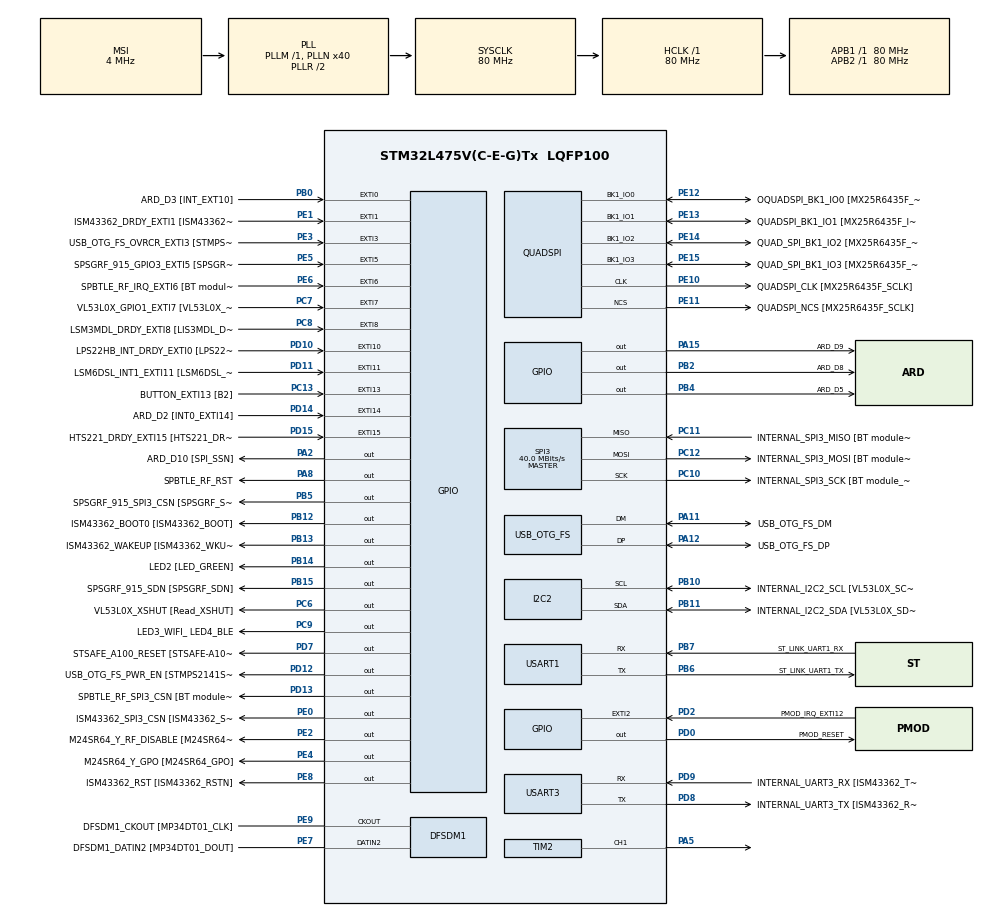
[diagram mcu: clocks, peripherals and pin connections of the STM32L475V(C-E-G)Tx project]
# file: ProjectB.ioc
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Mcu.Family=STM32L4
Mcu.Name=STM32L475V(C-E-G)Tx
Mcu.Package=LQFP100
NVIC.EXTI15_10_IRQn=true\:0\:0\:false\:false\:true\:true\:true\:true
NVIC.EXTI9_5_IRQn=true\:0\:0\:false\:false\:true\:true\:true\:true
NVIC.PriorityGroup=NVIC_PRIORITYGROUP_4
NVIC.TIM2_IRQn=true\:0\:0\:false\:false\:true\:true\:true\:true
NVIC.TIM3_IRQn=true\:0\:0\:false\:false\:true\:true\:true\:true
NVIC.USART1_IRQn=true\:0\:0\:false\:false\:true\:true\:true\:true
PA0.GPIO_Label=ARD_D1 [UART4_TX]
PA0.Signal=UART4_TX
PA1.GPIO_Label=ARD_D0 [UART4_RX]
PA1.Signal=UART4_RX
PA10.GPIO_Label=USB_OTG_FS_ID
PA10.Signal=USB_OTG_FS_ID
PA11.GPIO_Label=USB_OTG_FS_DM
PA11.Mode=Device_Only
PA11.Signal=USB_OTG_FS_DM
PA12.GPIO_Label=USB_OTG_FS_DP
PA12.Mode=Device_Only
PA12.Signal=USB_OTG_FS_DP
PA13\ (JTMS-SWDIO).GPIO_Label=SYS_JTMS_SWDIO
PA13\ (JTMS-SWDIO).Mode=Serial_Wire
PA13\ (JTMS-SWDIO).Signal=SYS_JTMS-SWDIO
PA14\ (JTCK-SWCLK).GPIO_Label=SYS_JTCK_SWCLK
PA14\ (JTCK-SWCLK).Mode=Serial_Wire
PA14\ (JTCK-SWCLK).Signal=SYS_JTCK-SWCLK
PA15\ (JTDI).GPIO_Label=ARD_D9
PA15\ (JTDI).Signal=GPIO_Output
PA2.GPIO_Label=ARD_D10 [SPI_SSN]
PA2.Signal=GPIO_Output
PA3.GPIO_Label=ARD_D4
PA3.Signal=S_TIM2_CH4
PA4.GPIO_Label=ARD_D7
PA4.Signal=ADCx_IN9
PA5.Signal=S_TIM2_CH1
PA6.GPIO_Label=ARD_D12 [SPI1_MISO]
PA6.Signal=SPI1_MISO
PA7.GPIO_Label=ARD_D11 [SPI1_MOSI]
PA7.Signal=SPI1_MOSI
PA8.GPIO_Label=SPBTLE_RF_RST
PA8.Signal=GPIO_Output
PA9.GPIO_Label=USB_OTG_FS_VBUS [STMPS2141STR_OUT]
PA9.Signal=USB_OTG_FS_VBUS
PB0.GPIO_Label=ARD_D3 [INT_EXT10]
PB0.Signal=GPXTI0
PB1.GPIO_Label=ARD_D6 [ADC1_IN6]
PB1.Signal=ADCx_IN16
PB10.GPIO_Label=INTERNAL_I2C2_SCL [VL53L0X_SCL]
PB10.GPIO_Pu=GPIO_PULLUP
PB10.Mode=I2C
PB10.Signal=I2C2_SCL
PB11.GPIO_Label=INTERNAL_I2C2_SDA [VL53L0X_SDA]
PB11.GPIO_Pu=GPIO_PULLUP
PB11.Mode=I2C
PB11.Signal=I2C2_SDA
PB12.GPIO_Label=ISM43362_BOOT0 [ISM43362_BOOT]
PB12.Signal=GPIO_Output
PB13.GPIO_Label=ISM43362_WAKEUP [ISM43362_WKUP]
PB13.Signal=GPIO_Output
PB14.GPIO_Label=LED2 [LED_GREEN]
PB14.Signal=GPIO_Output
PB15.GPIO_Label=SPSGRF_915_SDN [SPSGRF_SDN]
PB15.Signal=GPIO_Output
PB2.GPIO_Label=ARD_D8
PB2.Signal=GPIO_Output
PB3\ (JTDO-TRACESWO).GPIO_Label=SYS_JTD0_SWO
PB3\ (JTDO-TRACESWO).Signal=SYS_JTDO-SWO
PB4\ (NJTRST).GPIO_Label=ARD_D5
PB4\ (NJTRST).Signal=GPIO_Output
PB5.GPIO_Label=SPSGRF_915_SPI3_CSN [SPSGRF_SPI_CS]
PB5.PinState=GPIO_PIN_SET
PB5.Signal=GPIO_Output
PB6.GPIO_Label=ST_LINK_UART1_TX
PB6.Mode=Asynchronous
PB6.Signal=USART1_TX
PB7.GPIO_Label=ST_LINK_UART1_RX
PB7.Mode=Asynchronous
PB7.Signal=USART1_RX
PB8.GPIO_Label=ARD_D15 [I2C1_SCL]
PB8.Signal=I2C1_SCL
PB9.GPIO_Label=ARD_D14 [I2C1_SDA]
PB9.Signal=I2C1_SDA
PC0.GPIO_Label=ARD_A5 [ADC]
PC0.Signal=ADCx_IN1
PC1.GPIO_Label=ARD_A4 [ADC]
PC1.Signal=ADCx_IN2
PC10.GPIO_Label=INTERNAL_SPI3_SCK [BT module_SPI_SCLK] [ISM43362_SCK]
PC10.Mode=Full_Duplex_Master
PC10.Signal=SPI3_SCK
PC11.GPIO_Label=INTERNAL_SPI3_MISO [BT module_SPI_MISO] [ISM43362_MISO]
PC11.Mode=Full_Duplex_Master
PC11.Signal=SPI3_MISO
PC12.GPIO_Label=INTERNAL_SPI3_MOSI [BT module_SPI_MOSI] [ISM43362_MOSI]
PC12.Mode=Full_Duplex_Master
PC12.Signal=SPI3_MOSI
PC13.GPIO_Label=BUTTON_EXTI13 [B2]
PC13.GPIO_ModeDefaultEXTI=GPIO_MODE_IT_FALLING
PC13.Signal=GPXTI13
PC14-OSC32_IN\ (PC14).Mode=LSE-External-Oscillator
PC14-OSC32_IN\ (PC14).Signal=RCC_OSC32_IN
PC15-OSC32_OUT\ (PC15).Mode=LSE-External-Oscillator
PC15-OSC32_OUT\ (PC15).Signal=RCC_OSC32_OUT
PC2.GPIO_Label=ARD_A3 [ADC]
PC2.Signal=ADCx_IN3
PC3.GPIO_Label=ARD_A2 [ADC]
PC3.Signal=ADCx_IN4
PC4.GPIO_Label=ARD_A1 [ADC]
PC4.Signal=ADCx_IN13
PC5.GPIO_Label=ARD_A0 [ADC]
PC5.Signal=ADCx_IN14
PC6.GPIO_Label=VL53L0X_XSHUT [Read_XSHUT]
PC6.Signal=GPIO_Output
PC7.GPIO_Label=VL53L0X_GPIO1_EXTI7 [VL53L0X_GPIO1]
PC7.Signal=GPXTI7
PC8.GPIO_Label=LSM3MDL_DRDY_EXTI8 [LIS3MDL_DRDY]
PC8.Signal=GPXTI8
PC9.GPIO_Label=LED3_WIFI_ LED4_BLE
PC9.Signal=GPIO_Output
PD0.GPIO_Label=PMOD_RESET
PD0.Signal=GPIO_Output
PD1.GPIO_Label=PMOD_SPI2_SCK
PD1.Signal=SPI2_SCK
PD10.GPIO_Label=LPS22HB_INT_DRDY_EXTI0 [LPS22HB_INT_DRDY] 
PD10.Signal=GPXTI10
PD11.GPIO_Label=LSM6DSL_INT1_EXTI11 [LSM6DSL_INT1]
PD11.Signal=GPXTI11
PD12.GPIO_Label=USB_OTG_FS_PWR_EN [STMPS2141STR_EN]
PD12.Signal=GPIO_Output
PD13.GPIO_Label=SPBTLE_RF_SPI3_CSN [BT module_SPI_CS]
PD13.PinState=GPIO_PIN_SET
PD13.Signal=GPIO_Output
PD14.GPIO_Label=ARD_D2 [INT0_EXTI14]
PD14.Signal=GPXTI14
PD15.GPIO_Label=HTS221_DRDY_EXTI15 [HTS221_DRDY]
PD15.Signal=GPXTI15
PD2.GPIO_Label=PMOD_IRQ_EXTI12
PD2.Signal=GPXTI2
PD3.GPIO_Label=PMOD_UART2_CTS
PD3.Signal=USART2_CTS
PD4.GPIO_Label=PMOD_UART2_RTS
PD4.Signal=USART2_RTS
PD5.GPIO_Label=PMOD_UART2_TX
PD5.Signal=USART2_TX
PD6.GPIO_Label=PMOD_UART2_RX
PD6.Signal=USART2_RX
PD7.GPIO_Label=STSAFE_A100_RESET [STSAFE-A100_RESET]
PD7.Signal=GPIO_Output
PD8.GPIO_Label=INTERNAL_UART3_TX [ISM43362_RX]
PD8.Mode=Asynchronous
PD8.Signal=USART3_TX
PD9.GPIO_Label=INTERNAL_UART3_RX [ISM43362_TX]
PD9.Mode=Asynchronous
PD9.Signal=USART3_RX
PE0.GPIO_Label=ISM43362_SPI3_CSN [ISM43362_SSN]
PE0.PinState=GPIO_PIN_SET
PE0.Signal=GPIO_Output
PE1.GPIO_Label=ISM43362_DRDY_EXTI1 [ISM43362_DATARDY]
PE1.Signal=GPXTI1
PE10.GPIO_Label=QUADSPI_CLK [MX25R6435F_SCLK]
PE10.Mode=Single Bank
PE10.Signal=QUADSPI_CLK
PE11.GPIO_Label=QUADSPI_NCS [MX25R6435F_SCLK]
PE11.Mode=Single Bank
PE11.Signal=QUADSPI_NCS
PE12.GPIO_Label=OQUADSPI_BK1_IO0 [MX25R6435F_IO0]
PE12.Mode=Single Bank
PE12.Signal=QUADSPI_BK1_IO0
PE13.GPIO_Label=QUADSPI_BK1_IO1 [MX25R6435F_IO1]
PE13.Mode=Single Bank
PE13.Signal=QUADSPI_BK1_IO1
PE14.GPIO_Label=QUAD_SPI_BK1_IO2 [MX25R6435F_IO2]
PE14.Mode=Single Bank
PE14.Signal=QUADSPI_BK1_IO2
PE15.GPIO_Label=QUAD_SPI_BK1_IO3 [MX25R6435F_IO3]
PE15.Mode=Single Bank
PE15.Signal=QUADSPI_BK1_IO3
PE2.GPIO_Label=M24SR64_Y_RF_DISABLE [M24SR64_RFDIS]
PE2.Signal=GPIO_Output
PE3.GPIO_Label=USB_OTG_FS_OVRCR_EXTI3 [STMPS2141STR_FAULT]
PE3.Signal=GPXTI3
PE4.GPIO_Label=M24SR64_Y_GPO [M24SR64_GPO]
PE4.Signal=GPIO_Output
PE5.GPIO_Label=SPSGRF_915_GPIO3_EXTI5 [SPSGRF_GPIO_3]
PE5.Signal=GPXTI5
PE6.GPIO_Label=SPBTLE_RF_IRQ_EXTI6 [BT module_SPI_IRQ]
PE6.Signal=GPXTI6
PE7.GPIO_Label=DFSDM1_DATIN2 [MP34DT01_DOUT]
PE7.Signal=S_DATAIN2DFSDM1
PE8.GPIO_Label=ISM43362_RST [ISM43362_RSTN]
PE8.Signal=GPIO_Output
PE9.GPIO_Label=DFSDM1_CKOUT [MP34DT01_CLK]
PE9.Signal=S_CKOUTDFSDM1
ProjectManager.HeapSize=0x200
ProjectManager.StackSize=0x400
ProjectManager.TargetToolchain=STM32CubeIDE
QUADSPI.ClockPrescaler=2
QUADSPI.FifoThreshold=4
QUADSPI.FlashSize=23
QUADSPI.SampleShifting=QSPI_SAMPLE_SHIFTING_HALFCYCLE
RCC.ADCFreq_Value=48000000
RCC.AHBFreq_Value=80000000
RCC.APB1Freq_Value=80000000
RCC.APB1TimFreq_Value=80000000
RCC.APB2Freq_Value=80000000
RCC.APB2TimFreq_Value=80000000
RCC.CortexFreq_Value=80000000
RCC.HCLKFreq_Value=80000000
RCC.HSE_VALUE=8000000
RCC.HSI_VALUE=16000000
RCC.MSI_VALUE=4000000
RCC.PLLN=40
RCC.PLLSAI1N=24
RCC.SYSCLKFreq_VALUE=80000000
RCC.SYSCLKSource=RCC_SYSCLKSOURCE_PLLCLK
RCC.USBFreq_Value=48000000
RCC.VCOOutputFreq_Value=160000000
SH.ADCx_IN1.0=ADC1_IN1
SH.ADCx_IN13.0=ADC1_IN13
SH.ADCx_IN14.0=ADC1_IN14
SH.ADCx_IN16.0=ADC1_IN16
SH.ADCx_IN2.0=ADC1_IN2
SH.ADCx_IN3.0=ADC1_IN3
SH.ADCx_IN4.0=ADC1_IN4
SH.ADCx_IN9.0=ADC1_IN9
SH.S_CKOUTDFSDM1.0=DFSDM1_CKOUT,CKOUT
SH.S_CKOUTDFSDM1.1=DFSDM1_CKOUT,PDM_SPI_Input_from_ch12_and_Internal_Clock
SH.S_DATAIN2DFSDM1.0=DFSDM1_DATIN2,PDM_SPI_Input_from_ch12_and_Internal_Clock
SH.S_TIM2_CH1.0=TIM2_CH1,PWM Generation1 CH1
SH.S_TIM2_CH4.0=TIM2_CH4
SPI3.CalculateBaudRate=40.0 MBits/s
SPI3.Direction=SPI_DIRECTION_2LINES
SPI3.Mode=SPI_MODE_MASTER
SPI3.VirtualType=VM_MASTER
TIM2.Channel-PWM\ Generation1\ CH1=TIM_CHANNEL_1
TIM3.Period=9999
TIM3.Prescaler=7999
USART1.VirtualMode-Asynchronous=VM_ASYNC
USART3.VirtualMode-Asynchronous=VM_ASYNC
USB_OTG_FS.VirtualMode=Device_Only
VP_TIM2_VS_ClockSourceINT.Mode=Internal
VP_TIM3_VS_ClockSourceINT.Mode=Internal
board=B-L475E-IOT01A1

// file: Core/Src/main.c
/* USER CODE BEGIN Header */
/**
  ******************************************************************************
  * @file           : main.c
  * @brief          : Main program body
  ******************************************************************************
  * @attention
  *
  * Copyright (c) 2026 STMicroelectronics.
  * All rights reserved.
  *
  * This software is licensed under terms that can be found in the LICENSE file
  * in the root directory of this software component.
  * If no LICENSE file comes with this software, it is provided AS-IS.
  *
  ******************************************************************************
  */
/* USER CODE END Header */
#include "main.h"

/* USER CODE BEGIN Includes */
#include <string.h>
#include <stdlib.h>
#include <stdio.h>
/* USER CODE END Includes */

/* USER CODE BEGIN PTD */
typedef struct {
	int16_t ON;
	int16_t OFF;
} ditdah_t; // one scaled element of the morse code sequence
/* USER CODE END PTD */

/* USER CODE BEGIN PD */
static const ditdah_t _ABCsp[] = {{1,-1},{3,-3},{3,-1},{1,-1},{1,-1},{1,-3},{3,-1},{1,-1},{3,-1},{1,-7}};
#define SEQ_LEN 10

static const char REFERENCE[] = "ABC ";

#define RX_BUF_LEN 64
/* USER CODE END PD */

DFSDM_Channel_HandleTypeDef hdfsdm1_channel1;

I2C_HandleTypeDef hi2c2;

QSPI_HandleTypeDef hqspi;

SPI_HandleTypeDef hspi3;

TIM_HandleTypeDef htim2;
TIM_HandleTypeDef htim3;

UART_HandleTypeDef huart1;
UART_HandleTypeDef huart3;

PCD_HandleTypeDef hpcd_USB_OTG_FS;

/* USER CODE BEGIN PV */

static ditdah_t seq[10];

static int seq_i = 0;
static uint8_t seq_phase = 0;
static volatile uint8_t seq_done = 0; // set to 1 when finished, polled

static uint16_t t = 60; // default 60

static uint8_t rx_byte = 0;
static char rx_buf[64];
static uint8_t rx_i = 0;
static volatile uint8_t line_ready = 0; // set to 1 when \r or \n, polled
/* USER CODE END PV */

void SystemClock_Config(void);
static void MX_GPIO_Init(void);
static void MX_DFSDM1_Init(void);
static void MX_I2C2_Init(void);
static void MX_QUADSPI_Init(void);
static void MX_SPI3_Init(void);
static void MX_USART1_UART_Init(void);
static void MX_USART3_UART_Init(void);
static void MX_USB_OTG_FS_PCD_Init(void);
static void MX_TIM2_Init(void);
static void MX_TIM3_Init(void);
/* USER CODE BEGIN PFP */
static int parse_command(char *line);
static void uart_print(char *s);
static void tone_on(void);
static void tone_off(void);
static void scale_sequence(uint16_t t);
static void start_sequence(void);
static void check_answer(char *user);
static void arm_rx(void);
/* USER CODE END PFP */

/* USER CODE BEGIN 0 */
void HAL_UART_RxCpltCallback(UART_HandleTypeDef *huart)
{
	if (huart->Instance != USART1) {
		return;
	}

	if (rx_byte == '\r' || rx_byte == '\n') {
		rx_buf[rx_i] = '\0';
		rx_i = 0;
		line_ready = 1;
	} else {
		if (rx_i < RX_BUF_LEN - 1) {
			rx_buf[rx_i++] = (char)rx_byte;
		}
		arm_rx();
	}
}

void HAL_TIM_PeriodElapsedCallback(TIM_HandleTypeDef *htim)
{
	if (htim->Instance != TIM3) {
		return;
	}

	if (seq_phase == 0) { // ON (tone)
		tone_on();
		uint16_t on_ticks = (uint16_t)(seq[seq_i].ON) - 1;
		__HAL_TIM_SET_AUTORELOAD(&htim3, on_ticks);
		__HAL_TIM_SET_COUNTER(&htim3, 0);
		HAL_TIM_Base_Start_IT(&htim3); // one shot mode
		seq_phase = 1;

	} else { // phase 1 = OFF (silence)
		tone_off();
		uint16_t off_ticks = (uint16_t)(-seq[seq_i].OFF) - 1;

		seq_i++; // next element

		if (seq_i >= (int)SEQ_LEN) { // reset
			seq_done = 1;
			seq_phase = 0;
			seq_i = 0;
			return;
		}

		__HAL_TIM_SET_AUTORELOAD(&htim3, off_ticks);
		__HAL_TIM_SET_COUNTER(&htim3, 0);
		HAL_TIM_Base_Start_IT(&htim3);
		seq_phase = 0;
	}
}
/* USER CODE END 0 */

int main(void)
{

  /* MCU Configuration--------------------------------------------------------*/

  /* Reset of all peripherals, Initializes the Flash interface and the Systick. */
  HAL_Init();

  /* Configure the system clock */
  SystemClock_Config();

  /* Initialize all configured peripherals */
  MX_GPIO_Init();
  MX_DFSDM1_Init();
  MX_I2C2_Init();
  MX_QUADSPI_Init();
  MX_SPI3_Init();
  MX_USART1_UART_Init();
  MX_USART3_UART_Init();
  MX_USB_OTG_FS_PCD_Init();
  MX_TIM2_Init();
  MX_TIM3_Init();
  /* USER CODE BEGIN 2 */
  arm_rx();

  uart_print("Enter command D<speed> (range 20-300): ");
  /* USER CODE END 2 */

  /* Infinite loop */
  while (1)
  {
	  if (line_ready) {
		  line_ready = 0;

		  int result = parse_command(rx_buf);

		  if (result < 0) {
			  uart_print("Invalid command");
			  arm_rx();
		  } else {
			  t = (uint16_t)result;
			  char msg[48];
			  sprintf(msg, "Starting at t=%u ms...\r\n", t);
			  uart_print(msg);

			  start_sequence();

			  while(!seq_done) {} // waitinggggg
			  seq_done = 0;

			  uart_print("Sequence done. Your answer: ");
			  arm_rx();
			  while(!line_ready) {} // waittttt
			  line_ready = 0;

			  check_answer(rx_buf);

			  uart_print("\r\nEnter next command: ");
			  arm_rx();
		  }
	  }
  }
}

void SystemClock_Config(void)
{
  RCC_OscInitTypeDef RCC_OscInitStruct = {0};
  RCC_ClkInitTypeDef RCC_ClkInitStruct = {0};

  /** Configure the main internal regulator output voltage
  */
  if (HAL_PWREx_ControlVoltageScaling(PWR_REGULATOR_VOLTAGE_SCALE1) != HAL_OK)
  {
    Error_Handler();
  }

  /** Configure LSE Drive Capability
  */
  HAL_PWR_EnableBkUpAccess();
  __HAL_RCC_LSEDRIVE_CONFIG(RCC_LSEDRIVE_LOW);

  /** Initializes the RCC Oscillators according to the specified parameters
  * in the RCC_OscInitTypeDef structure.
  */
  RCC_OscInitStruct.OscillatorType = RCC_OSCILLATORTYPE_LSE|RCC_OSCILLATORTYPE_MSI;
  RCC_OscInitStruct.LSEState = RCC_LSE_ON;
  RCC_OscInitStruct.MSIState = RCC_MSI_ON;
  RCC_OscInitStruct.MSICalibrationValue = 0;
  RCC_OscInitStruct.MSIClockRange = RCC_MSIRANGE_6;
  RCC_OscInitStruct.PLL.PLLState = RCC_PLL_ON;
  RCC_OscInitStruct.PLL.PLLSource = RCC_PLLSOURCE_MSI;
  RCC_OscInitStruct.PLL.PLLM = 1;
  RCC_OscInitStruct.PLL.PLLN = 40;
  RCC_OscInitStruct.PLL.PLLP = RCC_PLLP_DIV7;
  RCC_OscInitStruct.PLL.PLLQ = RCC_PLLQ_DIV2;
  RCC_OscInitStruct.PLL.PLLR = RCC_PLLR_DIV2;
  if (HAL_RCC_OscConfig(&RCC_OscInitStruct) != HAL_OK)
  {
    Error_Handler();
  }

  /** Initializes the CPU, AHB and APB buses clocks
  */
  RCC_ClkInitStruct.ClockType = RCC_CLOCKTYPE_HCLK|RCC_CLOCKTYPE_SYSCLK
                              |RCC_CLOCKTYPE_PCLK1|RCC_CLOCKTYPE_PCLK2;
  RCC_ClkInitStruct.SYSCLKSource = RCC_SYSCLKSOURCE_PLLCLK;
  RCC_ClkInitStruct.AHBCLKDivider = RCC_SYSCLK_DIV1;
  RCC_ClkInitStruct.APB1CLKDivider = RCC_HCLK_DIV1;
  RCC_ClkInitStruct.APB2CLKDivider = RCC_HCLK_DIV1;

  if (HAL_RCC_ClockConfig(&RCC_ClkInitStruct, FLASH_LATENCY_4) != HAL_OK)
  {
    Error_Handler();
  }

  /** Enable MSI Auto calibration
  */
  HAL_RCCEx_EnableMSIPLLMode();
}

static void MX_DFSDM1_Init(void)
{

  hdfsdm1_channel1.Instance = DFSDM1_Channel1;
  hdfsdm1_channel1.Init.OutputClock.Activation = ENABLE;
  hdfsdm1_channel1.Init.OutputClock.Selection = DFSDM_CHANNEL_OUTPUT_CLOCK_SYSTEM;
  hdfsdm1_channel1.Init.OutputClock.Divider = 2;
  hdfsdm1_channel1.Init.Input.Multiplexer = DFSDM_CHANNEL_EXTERNAL_INPUTS;
  hdfsdm1_channel1.Init.Input.DataPacking = DFSDM_CHANNEL_STANDARD_MODE;
  hdfsdm1_channel1.Init.Input.Pins = DFSDM_CHANNEL_FOLLOWING_CHANNEL_PINS;
  hdfsdm1_channel1.Init.SerialInterface.Type = DFSDM_CHANNEL_SPI_RISING;
  hdfsdm1_channel1.Init.SerialInterface.SpiClock = DFSDM_CHANNEL_SPI_CLOCK_INTERNAL;
  hdfsdm1_channel1.Init.Awd.FilterOrder = DFSDM_CHANNEL_FASTSINC_ORDER;
  hdfsdm1_channel1.Init.Awd.Oversampling = 1;
  hdfsdm1_channel1.Init.Offset = 0;
  hdfsdm1_channel1.Init.RightBitShift = 0x00;
  if (HAL_DFSDM_ChannelInit(&hdfsdm1_channel1) != HAL_OK)
  {
    Error_Handler();
  }

}

static void MX_I2C2_Init(void)
{

  hi2c2.Instance = I2C2;
  hi2c2.Init.Timing = 0x00000E14;
  hi2c2.Init.OwnAddress1 = 0;
  hi2c2.Init.AddressingMode = I2C_ADDRESSINGMODE_7BIT;
  hi2c2.Init.DualAddressMode = I2C_DUALADDRESS_DISABLE;
  hi2c2.Init.OwnAddress2 = 0;
  hi2c2.Init.OwnAddress2Masks = I2C_OA2_NOMASK;
  hi2c2.Init.GeneralCallMode = I2C_GENERALCALL_DISABLE;
  hi2c2.Init.NoStretchMode = I2C_NOSTRETCH_DISABLE;
  if (HAL_I2C_Init(&hi2c2) != HAL_OK)
  {
    Error_Handler();
  }

  /** Configure Analogue filter
  */
  if (HAL_I2CEx_ConfigAnalogFilter(&hi2c2, I2C_ANALOGFILTER_ENABLE) != HAL_OK)
  {
    Error_Handler();
  }

  /** Configure Digital filter
  */
  if (HAL_I2CEx_ConfigDigitalFilter(&hi2c2, 0) != HAL_OK)
  {
    Error_Handler();
  }

}

static void MX_QUADSPI_Init(void)
{

  /* QUADSPI parameter configuration*/
  hqspi.Instance = QUADSPI;
  hqspi.Init.ClockPrescaler = 2;
  hqspi.Init.FifoThreshold = 4;
  hqspi.Init.SampleShifting = QSPI_SAMPLE_SHIFTING_HALFCYCLE;
  hqspi.Init.FlashSize = 23;
  hqspi.Init.ChipSelectHighTime = QSPI_CS_HIGH_TIME_1_CYCLE;
  hqspi.Init.ClockMode = QSPI_CLOCK_MODE_0;
  if (HAL_QSPI_Init(&hqspi) != HAL_OK)
  {
    Error_Handler();
  }

}

static void MX_SPI3_Init(void)
{

  /* SPI3 parameter configuration*/
  hspi3.Instance = SPI3;
  hspi3.Init.Mode = SPI_MODE_MASTER;
  hspi3.Init.Direction = SPI_DIRECTION_2LINES;
  hspi3.Init.DataSize = SPI_DATASIZE_4BIT;
  hspi3.Init.CLKPolarity = SPI_POLARITY_LOW;
  hspi3.Init.CLKPhase = SPI_PHASE_1EDGE;
  hspi3.Init.NSS = SPI_NSS_SOFT;
  hspi3.Init.BaudRatePrescaler = SPI_BAUDRATEPRESCALER_2;
  hspi3.Init.FirstBit = SPI_FIRSTBIT_MSB;
  hspi3.Init.TIMode = SPI_TIMODE_DISABLE;
  hspi3.Init.CRCCalculation = SPI_CRCCALCULATION_DISABLE;
  hspi3.Init.CRCPolynomial = 7;
  hspi3.Init.CRCLength = SPI_CRC_LENGTH_DATASIZE;
  hspi3.Init.NSSPMode = SPI_NSS_PULSE_ENABLE;
  if (HAL_SPI_Init(&hspi3) != HAL_OK)
  {
    Error_Handler();
  }

}

static void MX_TIM2_Init(void)
{

  TIM_ClockConfigTypeDef sClockSourceConfig = {0};
  TIM_MasterConfigTypeDef sMasterConfig = {0};
  TIM_OC_InitTypeDef sConfigOC = {0};

  htim2.Instance = TIM2;
  htim2.Init.Prescaler = 0;
  htim2.Init.CounterMode = TIM_COUNTERMODE_UP;
  htim2.Init.Period = 4294967295;
  htim2.Init.ClockDivision = TIM_CLOCKDIVISION_DIV1;
  htim2.Init.AutoReloadPreload = TIM_AUTORELOAD_PRELOAD_DISABLE;
  if (HAL_TIM_Base_Init(&htim2) != HAL_OK)
  {
    Error_Handler();
  }
  sClockSourceConfig.ClockSource = TIM_CLOCKSOURCE_INTERNAL;
  if (HAL_TIM_ConfigClockSource(&htim2, &sClockSourceConfig) != HAL_OK)
  {
    Error_Handler();
  }
  if (HAL_TIM_PWM_Init(&htim2) != HAL_OK)
  {
    Error_Handler();
  }
  sMasterConfig.MasterOutputTrigger = TIM_TRGO_RESET;
  sMasterConfig.MasterSlaveMode = TIM_MASTERSLAVEMODE_DISABLE;
  if (HAL_TIMEx_MasterConfigSynchronization(&htim2, &sMasterConfig) != HAL_OK)
  {
    Error_Handler();
  }
  sConfigOC.OCMode = TIM_OCMODE_PWM1;
  sConfigOC.Pulse = 0;
  sConfigOC.OCPolarity = TIM_OCPOLARITY_HIGH;
  sConfigOC.OCFastMode = TIM_OCFAST_DISABLE;
  if (HAL_TIM_PWM_ConfigChannel(&htim2, &sConfigOC, TIM_CHANNEL_1) != HAL_OK)
  {
    Error_Handler();
  }
  HAL_TIM_MspPostInit(&htim2);

}

static void MX_TIM3_Init(void)
{

  TIM_ClockConfigTypeDef sClockSourceConfig = {0};
  TIM_MasterConfigTypeDef sMasterConfig = {0};

  htim3.Instance = TIM3;
  htim3.Init.Prescaler = 7999;
  htim3.Init.CounterMode = TIM_COUNTERMODE_UP;
  htim3.Init.Period = 9999;
  htim3.Init.ClockDivision = TIM_CLOCKDIVISION_DIV1;
  htim3.Init.AutoReloadPreload = TIM_AUTORELOAD_PRELOAD_DISABLE;
  if (HAL_TIM_Base_Init(&htim3) != HAL_OK)
  {
    Error_Handler();
  }
  sClockSourceConfig.ClockSource = TIM_CLOCKSOURCE_INTERNAL;
  if (HAL_TIM_ConfigClockSource(&htim3, &sClockSourceConfig) != HAL_OK)
  {
    Error_Handler();
  }
  sMasterConfig.MasterOutputTrigger = TIM_TRGO_RESET;
  sMasterConfig.MasterSlaveMode = TIM_MASTERSLAVEMODE_DISABLE;
  if (HAL_TIMEx_MasterConfigSynchronization(&htim3, &sMasterConfig) != HAL_OK)
  {
    Error_Handler();
  }

}

static void MX_USART1_UART_Init(void)
{

  huart1.Instance = USART1;
  huart1.Init.BaudRate = 115200;
  huart1.Init.WordLength = UART_WORDLENGTH_8B;
  huart1.Init.StopBits = UART_STOPBITS_1;
  huart1.Init.Parity = UART_PARITY_NONE;
  huart1.Init.Mode = UART_MODE_TX_RX;
  huart1.Init.HwFlowCtl = UART_HWCONTROL_NONE;
  huart1.Init.OverSampling = UART_OVERSAMPLING_16;
  huart1.Init.OneBitSampling = UART_ONE_BIT_SAMPLE_DISABLE;
  huart1.AdvancedInit.AdvFeatureInit = UART_ADVFEATURE_NO_INIT;
  if (HAL_UART_Init(&huart1) != HAL_OK)
  {
    Error_Handler();
  }

}

static void MX_USART3_UART_Init(void)
{

  huart3.Instance = USART3;
  huart3.Init.BaudRate = 115200;
  huart3.Init.WordLength = UART_WORDLENGTH_8B;
  huart3.Init.StopBits = UART_STOPBITS_1;
  huart3.Init.Parity = UART_PARITY_NONE;
  huart3.Init.Mode = UART_MODE_TX_RX;
  huart3.Init.HwFlowCtl = UART_HWCONTROL_NONE;
  huart3.Init.OverSampling = UART_OVERSAMPLING_16;
  huart3.Init.OneBitSampling = UART_ONE_BIT_SAMPLE_DISABLE;
  huart3.AdvancedInit.AdvFeatureInit = UART_ADVFEATURE_NO_INIT;
  if (HAL_UART_Init(&huart3) != HAL_OK)
  {
    Error_Handler();
  }

}

static void MX_USB_OTG_FS_PCD_Init(void)
{

  hpcd_USB_OTG_FS.Instance = USB_OTG_FS;
  hpcd_USB_OTG_FS.Init.dev_endpoints = 6;
  hpcd_USB_OTG_FS.Init.speed = PCD_SPEED_FULL;
  hpcd_USB_OTG_FS.Init.phy_itface = PCD_PHY_EMBEDDED;
  hpcd_USB_OTG_FS.Init.Sof_enable = DISABLE;
  hpcd_USB_OTG_FS.Init.low_power_enable = DISABLE;
  hpcd_USB_OTG_FS.Init.lpm_enable = DISABLE;
  hpcd_USB_OTG_FS.Init.battery_charging_enable = DISABLE;
  hpcd_USB_OTG_FS.Init.use_dedicated_ep1 = DISABLE;
  hpcd_USB_OTG_FS.Init.vbus_sensing_enable = DISABLE;
  if (HAL_PCD_Init(&hpcd_USB_OTG_FS) != HAL_OK)
  {
    Error_Handler();
  }

}

static void MX_GPIO_Init(void)
{
  GPIO_InitTypeDef GPIO_InitStruct = {0};

  /* GPIO Ports Clock Enable */
  __HAL_RCC_GPIOE_CLK_ENABLE();
  __HAL_RCC_GPIOC_CLK_ENABLE();
  __HAL_RCC_GPIOA_CLK_ENABLE();
  __HAL_RCC_GPIOB_CLK_ENABLE();
  __HAL_RCC_GPIOD_CLK_ENABLE();

  /*Configure GPIO pin Output Level */
  HAL_GPIO_WritePin(GPIOE, M24SR64_Y_RF_DISABLE_Pin|M24SR64_Y_GPO_Pin|ISM43362_RST_Pin, GPIO_PIN_RESET);

  /*Configure GPIO pin Output Level */
  HAL_GPIO_WritePin(GPIOA, ARD_D10_Pin|SPBTLE_RF_RST_Pin|ARD_D9_Pin, GPIO_PIN_RESET);

  /*Configure GPIO pin Output Level */
  HAL_GPIO_WritePin(GPIOB, ARD_D8_Pin|ISM43362_BOOT0_Pin|ISM43362_WAKEUP_Pin|LED2_Pin
                          |SPSGRF_915_SDN_Pin|ARD_D5_Pin, GPIO_PIN_RESET);

  /*Configure GPIO pin Output Level */
  HAL_GPIO_WritePin(GPIOD, USB_OTG_FS_PWR_EN_Pin|PMOD_RESET_Pin|STSAFE_A100_RESET_Pin, GPIO_PIN_RESET);

  /*Configure GPIO pin Output Level */
  HAL_GPIO_WritePin(SPBTLE_RF_SPI3_CSN_GPIO_Port, SPBTLE_RF_SPI3_CSN_Pin, GPIO_PIN_SET);

  /*Configure GPIO pin Output Level */
  HAL_GPIO_WritePin(GPIOC, VL53L0X_XSHUT_Pin|LED3_WIFI__LED4_BLE_Pin, GPIO_PIN_RESET);

  /*Configure GPIO pin Output Level */
  HAL_GPIO_WritePin(SPSGRF_915_SPI3_CSN_GPIO_Port, SPSGRF_915_SPI3_CSN_Pin, GPIO_PIN_SET);

  /*Configure GPIO pin Output Level */
  HAL_GPIO_WritePin(ISM43362_SPI3_CSN_GPIO_Port, ISM43362_SPI3_CSN_Pin, GPIO_PIN_SET);

  /*Configure GPIO pins : M24SR64_Y_RF_DISABLE_Pin M24SR64_Y_GPO_Pin ISM43362_RST_Pin ISM43362_SPI3_CSN_Pin */
  GPIO_InitStruct.Pin = M24SR64_Y_RF_DISABLE_Pin|M24SR64_Y_GPO_Pin|ISM43362_RST_Pin|ISM43362_SPI3_CSN_Pin;
  GPIO_InitStruct.Mode = GPIO_MODE_OUTPUT_PP;
  GPIO_InitStruct.Pull = GPIO_NOPULL;
  GPIO_InitStruct.Speed = GPIO_SPEED_FREQ_LOW;
  HAL_GPIO_Init(GPIOE, &GPIO_InitStruct);

  /*Configure GPIO pins : USB_OTG_FS_OVRCR_EXTI3_Pin SPSGRF_915_GPIO3_EXTI5_Pin SPBTLE_RF_IRQ_EXTI6_Pin ISM43362_DRDY_EXTI1_Pin */
  GPIO_InitStruct.Pin = USB_OTG_FS_OVRCR_EXTI3_Pin|SPSGRF_915_GPIO3_EXTI5_Pin|SPBTLE_RF_IRQ_EXTI6_Pin|ISM43362_DRDY_EXTI1_Pin;
  GPIO_InitStruct.Mode = GPIO_MODE_IT_RISING;
  GPIO_InitStruct.Pull = GPIO_NOPULL;
  HAL_GPIO_Init(GPIOE, &GPIO_InitStruct);

  /*Configure GPIO pin : BUTTON_EXTI13_Pin */
  GPIO_InitStruct.Pin = BUTTON_EXTI13_Pin;
  GPIO_InitStruct.Mode = GPIO_MODE_IT_FALLING;
  GPIO_InitStruct.Pull = GPIO_NOPULL;
  HAL_GPIO_Init(BUTTON_EXTI13_GPIO_Port, &GPIO_InitStruct);

  /*Configure GPIO pins : ARD_A5_Pin ARD_A4_Pin ARD_A3_Pin ARD_A2_Pin
                           ARD_A1_Pin ARD_A0_Pin */
  GPIO_InitStruct.Pin = ARD_A5_Pin|ARD_A4_Pin|ARD_A3_Pin|ARD_A2_Pin
                          |ARD_A1_Pin|ARD_A0_Pin;
  GPIO_InitStruct.Mode = GPIO_MODE_ANALOG_ADC_CONTROL;
  GPIO_InitStruct.Pull = GPIO_NOPULL;
  HAL_GPIO_Init(GPIOC, &GPIO_InitStruct);

  /*Configure GPIO pins : ARD_D1_Pin ARD_D0_Pin */
  GPIO_InitStruct.Pin = ARD_D1_Pin|ARD_D0_Pin;
  GPIO_InitStruct.Mode = GPIO_MODE_AF_PP;
  GPIO_InitStruct.Pull = GPIO_NOPULL;
  GPIO_InitStruct.Speed = GPIO_SPEED_FREQ_VERY_HIGH;
  GPIO_InitStruct.Alternate = GPIO_AF8_UART4;
  HAL_GPIO_Init(GPIOA, &GPIO_InitStruct);

  /*Configure GPIO pins : ARD_D10_Pin SPBTLE_RF_RST_Pin ARD_D9_Pin */
  GPIO_InitStruct.Pin = ARD_D10_Pin|SPBTLE_RF_RST_Pin|ARD_D9_Pin;
  GPIO_InitStruct.Mode = GPIO_MODE_OUTPUT_PP;
  GPIO_InitStruct.Pull = GPIO_NOPULL;
  GPIO_InitStruct.Speed = GPIO_SPEED_FREQ_LOW;
  HAL_GPIO_Init(GPIOA, &GPIO_InitStruct);

  /*Configure GPIO pin : ARD_D7_Pin */
  GPIO_InitStruct.Pin = ARD_D7_Pin;
  GPIO_InitStruct.Mode = GPIO_MODE_ANALOG_ADC_CONTROL;
  GPIO_InitStruct.Pull = GPIO_NOPULL;
  HAL_GPIO_Init(ARD_D7_GPIO_Port, &GPIO_InitStruct);

  /*Configure GPIO pins : ARD_D12_Pin ARD_D11_Pin */
  GPIO_InitStruct.Pin = ARD_D12_Pin|ARD_D11_Pin;
  GPIO_InitStruct.Mode = GPIO_MODE_AF_PP;
  GPIO_InitStruct.Pull = GPIO_NOPULL;
  GPIO_InitStruct.Speed = GPIO_SPEED_FREQ_VERY_HIGH;
  GPIO_InitStruct.Alternate = GPIO_AF5_SPI1;
  HAL_GPIO_Init(GPIOA, &GPIO_InitStruct);

  /*Configure GPIO pin : ARD_D3_Pin */
  GPIO_InitStruct.Pin = ARD_D3_Pin;
  GPIO_InitStruct.Mode = GPIO_MODE_IT_RISING;
  GPIO_InitStruct.Pull = GPIO_NOPULL;
  HAL_GPIO_Init(ARD_D3_GPIO_Port, &GPIO_InitStruct);

  /*Configure GPIO pin : ARD_D6_Pin */
  GPIO_InitStruct.Pin = ARD_D6_Pin;
  GPIO_InitStruct.Mode = GPIO_MODE_ANALOG_ADC_CONTROL;
  GPIO_InitStruct.Pull = GPIO_NOPULL;
  HAL_GPIO_Init(ARD_D6_GPIO_Port, &GPIO_InitStruct);

  /*Configure GPIO pins : ARD_D8_Pin ISM43362_BOOT0_Pin ISM43362_WAKEUP_Pin LED2_Pin
                           SPSGRF_915_SDN_Pin ARD_D5_Pin SPSGRF_915_SPI3_CSN_Pin */
  GPIO_InitStruct.Pin = ARD_D8_Pin|ISM43362_BOOT0_Pin|ISM43362_WAKEUP_Pin|LED2_Pin
                          |SPSGRF_915_SDN_Pin|ARD_D5_Pin|SPSGRF_915_SPI3_CSN_Pin;
  GPIO_InitStruct.Mode = GPIO_MODE_OUTPUT_PP;
  GPIO_InitStruct.Pull = GPIO_NOPULL;
  GPIO_InitStruct.Speed = GPIO_SPEED_FREQ_LOW;
  HAL_GPIO_Init(GPIOB, &GPIO_InitStruct);

  /*Configure GPIO pins : LPS22HB_INT_DRDY_EXTI0_Pin LSM6DSL_INT1_EXTI11_Pin ARD_D2_Pin HTS221_DRDY_EXTI15_Pin
                           PMOD_IRQ_EXTI12_Pin */
  GPIO_InitStruct.Pin = LPS22HB_INT_DRDY_EXTI0_Pin|LSM6DSL_INT1_EXTI11_Pin|ARD_D2_Pin|HTS221_DRDY_EXTI15_Pin
                          |PMOD_IRQ_EXTI12_Pin;
  GPIO_InitStruct.Mode = GPIO_MODE_IT_RISING;
  GPIO_InitStruct.Pull = GPIO_NOPULL;
  HAL_GPIO_Init(GPIOD, &GPIO_InitStruct);

  /*Configure GPIO pins : USB_OTG_FS_PWR_EN_Pin SPBTLE_RF_SPI3_CSN_Pin PMOD_RESET_Pin STSAFE_A100_RESET_Pin */
  GPIO_InitStruct.Pin = USB_OTG_FS_PWR_EN_Pin|SPBTLE_RF_SPI3_CSN_Pin|PMOD_RESET_Pin|STSAFE_A100_RESET_Pin;
  GPIO_InitStruct.Mode = GPIO_MODE_OUTPUT_PP;
  GPIO_InitStruct.Pull = GPIO_NOPULL;
  GPIO_InitStruct.Speed = GPIO_SPEED_FREQ_LOW;
  HAL_GPIO_Init(GPIOD, &GPIO_InitStruct);

  /*Configure GPIO pins : VL53L0X_XSHUT_Pin LED3_WIFI__LED4_BLE_Pin */
  GPIO_InitStruct.Pin = VL53L0X_XSHUT_Pin|LED3_WIFI__LED4_BLE_Pin;
  GPIO_InitStruct.Mode = GPIO_MODE_OUTPUT_PP;
  GPIO_InitStruct.Pull = GPIO_NOPULL;
  GPIO_InitStruct.Speed = GPIO_SPEED_FREQ_LOW;
  HAL_GPIO_Init(GPIOC, &GPIO_InitStruct);

  /*Configure GPIO pins : VL53L0X_GPIO1_EXTI7_Pin LSM3MDL_DRDY_EXTI8_Pin */
  GPIO_InitStruct.Pin = VL53L0X_GPIO1_EXTI7_Pin|LSM3MDL_DRDY_EXTI8_Pin;
  GPIO_InitStruct.Mode = GPIO_MODE_IT_RISING;
  GPIO_InitStruct.Pull = GPIO_NOPULL;
  HAL_GPIO_Init(GPIOC, &GPIO_InitStruct);

  /*Configure GPIO pin : PMOD_SPI2_SCK_Pin */
  GPIO_InitStruct.Pin = PMOD_SPI2_SCK_Pin;
  GPIO_InitStruct.Mode = GPIO_MODE_AF_PP;
  GPIO_InitStruct.Pull = GPIO_NOPULL;
  GPIO_InitStruct.Speed = GPIO_SPEED_FREQ_VERY_HIGH;
  GPIO_InitStruct.Alternate = GPIO_AF5_SPI2;
  HAL_GPIO_Init(PMOD_SPI2_SCK_GPIO_Port, &GPIO_InitStruct);

  /*Configure GPIO pins : PMOD_UART2_CTS_Pin PMOD_UART2_RTS_Pin PMOD_UART2_TX_Pin PMOD_UART2_RX_Pin */
  GPIO_InitStruct.Pin = PMOD_UART2_CTS_Pin|PMOD_UART2_RTS_Pin|PMOD_UART2_TX_Pin|PMOD_UART2_RX_Pin;
  GPIO_InitStruct.Mode = GPIO_MODE_AF_PP;
  GPIO_InitStruct.Pull = GPIO_NOPULL;
  GPIO_InitStruct.Speed = GPIO_SPEED_FREQ_VERY_HIGH;
  GPIO_InitStruct.Alternate = GPIO_AF7_USART2;
  HAL_GPIO_Init(GPIOD, &GPIO_InitStruct);

  /*Configure GPIO pins : ARD_D15_Pin ARD_D14_Pin */
  GPIO_InitStruct.Pin = ARD_D15_Pin|ARD_D14_Pin;
  GPIO_InitStruct.Mode = GPIO_MODE_AF_OD;
  GPIO_InitStruct.Pull = GPIO_NOPULL;
  GPIO_InitStruct.Speed = GPIO_SPEED_FREQ_VERY_HIGH;
  GPIO_InitStruct.Alternate = GPIO_AF4_I2C1;
  HAL_GPIO_Init(GPIOB, &GPIO_InitStruct);

  /* EXTI interrupt init*/
  HAL_NVIC_SetPriority(EXTI9_5_IRQn, 0, 0);
  HAL_NVIC_EnableIRQ(EXTI9_5_IRQn);

  HAL_NVIC_SetPriority(EXTI15_10_IRQn, 0, 0);
  HAL_NVIC_EnableIRQ(EXTI15_10_IRQn);

}

/* USER CODE BEGIN 4 */
static int parse_command(char *line)
{
	if (line == NULL || line[0] != 'D') {
		return -1;
	}
	if (line[1] == '\0') {
		return -1;
	}

	int val = atoi(&line[1]);
	if (val < 20 || val > 300) {
		return -1;
	}
	return val;
}

static void uart_print(char *s)
{
	HAL_UART_Transmit(&huart1, (uint8_t *)s, (uint16_t)strlen(s), HAL_MAX_DELAY);
}

static void tone_on(void) {
	HAL_TIM_PWM_Start(&htim2, TIM_CHANNEL_1);
}

static void tone_off(void)
{
	HAL_TIM_PWM_Stop(&htim2, TIM_CHANNEL_1);
}

static void scale_sequence(uint16_t t)
{
	for (int i = 0; i < (int)SEQ_LEN; i++) {
		seq[i].ON = (int16_t)(_ABCsp[i].ON * (int16_t)t);
		seq[i].OFF = -(int16_t)(_ABCsp[i].OFF * (int16_t)t);
	}
}

static void start_sequence(void)
{
	tone_off();
	seq_done = 0;
	seq_i = 0;
	seq_phase = 0;

	scale_sequence(t);

	__HAL_TIM_SET_AUTORELOAD(&htim3, 1);
	__HAL_TIM_SET_COUNTER(&htim3, 0);
	HAL_TIM_Base_Start_IT(&htim3);
}

static void check_answer(char *user)
{
	int ref_len = (int)strlen(REFERENCE);
	int user_len = (int)strlen(user);
	int max_len = (ref_len > user_len) ? ref_len : user_len;
	int correct = 0;
	char line[64];

	uart_print("\r\n  Pos  Expected  Got    Result\r\n");

	char expected_char, got_char;
	for (int i = 0; i < max_len; i++) {
		if (i < ref_len) {
			expected_char = REFERENCE[i];
		} else {
			expected_char = '\0';
		}

		if (i < user_len) {
			got_char = user[i];
		} else {
			got_char = '\0';
		}

		char expected_str[6], got_str[6];
		if (expected_char == ' ') {
			strcpy(expected_str, "(sp)");
		} else if (expected_char == '\0') {
			strcpy(expected_str, "---");
		} else {
			expected_str[0] = expected_char;
			expected_str[1] = '\0';
		}
		if (got_char == ' ') {
			strcpy(got_str, "(sp)");
		} else if (got_char == '\0') {
			strcpy(got_str, "---");
		} else {
			got_str[0] = expected_char;
			got_str[1] = '\0';
		}

		int pass = (expected_char != '\0') && (expected_char == got_char);
		if (pass) {
			correct++;
		}

		uart_print(line);
	}

	if (user_len != ref_len) {
		sprintf(line, " (Length mismatch: expected %d chars, got %d)\r\n)", ref_len, user_len);
		uart_print(line);
	}

	sprintf(line, " Score: %d / %d\r\n", correct, ref_len);
	uart_print(line);
}

static void arm_rx(void)
{
	HAL_UART_Receive_IT(&huart1, &rx_byte, 1);
}

/* USER CODE END 4 */

void Error_Handler(void)
{
  __disable_irq();
  while (1)
  {
  }
}
